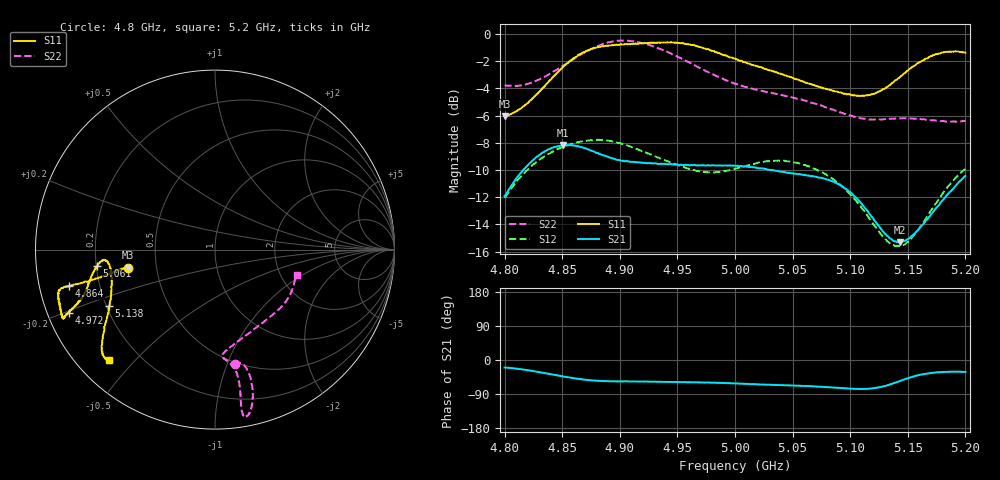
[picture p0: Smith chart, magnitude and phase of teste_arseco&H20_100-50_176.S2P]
! Network Analyzer HP8722D
! Hewlett-Packard
! Data name: Linha & Wilkinson
! Saver's name: Rodrigo Anjos
! Comments: Teste da utilização de aquisição
! continua pelo VNA HP8722D
! Time and date: 6/5/2025 14:02
!  Frequency  S11  S21  S12  S22
# HZ  S  MA R 50
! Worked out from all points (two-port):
!   401 points, 4.8 GHz to 5.2 GHz, reference 50 ohm
!   highest |S21| = -8.17 dB at 4.851 GHz (marker M1); lowest = -15.3 dB at 5.143 GHz (marker M2)
!   |S21| within 3 dB of the highest: 4.806 GHz to 5.092 GHz (286.5 MHz wide, 5.79 % of centre); 5.191435 GHz to end of sweep
!   lowest |S11| = -6.1 dB at 4.8 GHz (marker M3), VSWR 2.98, Z = 16.9 - j4.54 ohm
!   |S11| at or under -10 dB: nowhere
!   |S22| runs from -6.5 to -0.5 dB; largest |S21 - S12| = 0.62
!   S11 on the Smith chart (normalised r, x): 4.8 GHz: 0.34, -0.09; 4.864 GHz: 0.09, -0.12; 4.972 GHz: 0.06, -0.21; 5.061 GHz: 0.20, -0.07; 5.138 GHz: 0.21, -0.24; 5.2 GHz: 0.09, -0.42
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4.8e9  0.4978 -168.3  0.2535 -19.9  0.25 -141.1  0.6481 -80.2
4.823e9  0.5716 -167.6  0.3383 -28.3  0.3255 -144.0  0.661 -76.0
4.851e9  0.7574 -165.9  0.3904 -43.6  0.3847 -149.5  0.7654 -74.6
4.864e9  0.8369 -165.9  0.3864 -49.7  0.3992 -151.7  0.8277 -75.3
4.867e9  0.8484 -165.9  0.3835 -51.1  0.4026 -152.2  0.8433 -75.5
4.899e9  0.9116 -163.0  0.3439 -56.7  0.3971 -156.9  0.9442 -79.2
4.934e9  0.9296 -156.5  0.3327 -57.6  0.3509 -155.7  0.8827 -80.5
4.953e9  0.925 -155.6  0.3307 -58.3  0.3255 -152.2  0.8143 -79.9
4.972e9  0.8885 -156.7  0.3293 -59.2  0.3116 -146.3  0.7405 -79.8
5e9  0.8125 -159.2  0.3276 -61.9  0.3196 -137.3  0.6554 -81.3
5.035e9  0.7239 -165.5  0.3143 -65.9  0.3421 -134.5  0.6033 -85.7
5.061e9  0.6635 -172.0  0.3031 -68.5  0.3297 -136.5  0.568 -84.0
5.067e9  0.651 -173.2  0.3002 -69.3  0.323 -136.9  0.558 -82.6
5.085e9  0.6182 -174.5  0.2863 -72.8  0.2932 -138.5  0.5279 -75.7
5.102e9  0.5945 -171.8  0.2574 -75.9  0.2527 -138.8  0.4987 -65.9
5.117e9  0.5958 -164.9  0.2173 -75.6  0.2086 -135.1  0.4847 -55.0
5.134e9  0.6464 -154.3  0.1779 -65.1  0.1706 -120.6  0.4873 -43.3
5.138e9  0.669 -151.9  0.1731 -61.0  0.1671 -115.5  0.4876 -40.8
5.143e9  0.6925 -149.2  0.1713 -55.5  0.1661 -108.8  0.4892 -38.0
5.154e9  0.756 -144.6  0.1816 -44.4  0.1793 -95.1  0.4883 -32.3
5.173e9  0.8357 -139.0  0.2246 -33.4  0.2337 -80.8  0.4814 -24.2
5.2e9  0.8528 -133.8  0.3007 -31.4  0.3193 -77.0  0.4777 -17.6
